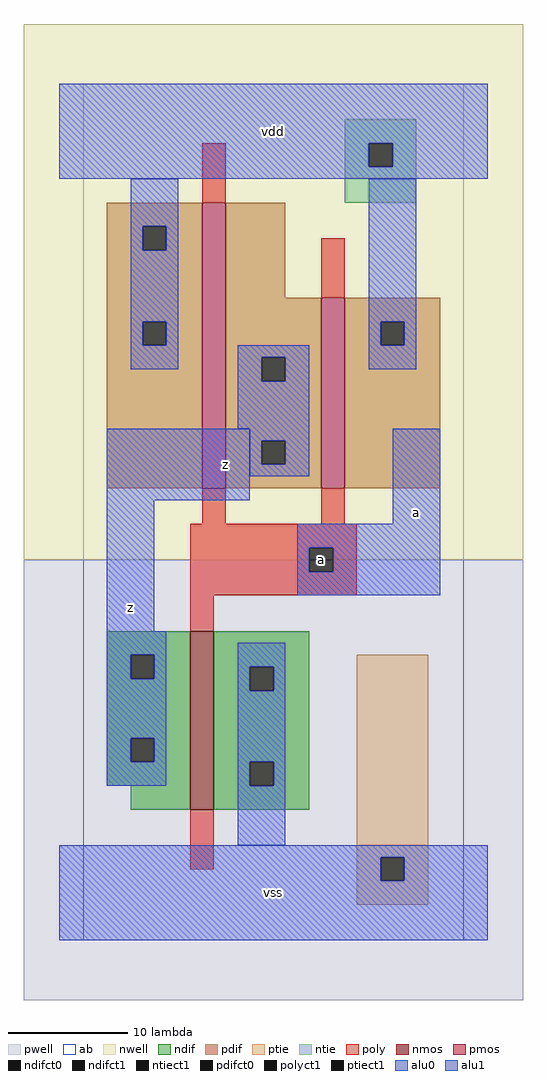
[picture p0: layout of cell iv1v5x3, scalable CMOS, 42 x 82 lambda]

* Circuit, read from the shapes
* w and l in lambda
.subckt iv1v5x3 a vdd vss z
M1 vss a z vss nfet w=15 l=2
M2 z a vdd vdd pfet w=24 l=2
M3 vdd a z vdd pfet w=16 l=2
.ends

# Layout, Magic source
magic
tech scmos
<< ab >>
rect 0 0 32 72
<< nwell >>
rect -5 32 37 77
<< pwell >>
rect -5 -5 37 32
<< poly >>
rect 10 62 12 67
rect 20 54 22 59
rect 10 35 12 38
rect 20 35 22 38
rect 9 33 23 35
rect 9 31 19 33
rect 21 31 23 33
rect 9 29 23 31
rect 9 26 11 29
rect 9 6 11 11
<< ndif >>
rect 2 24 9 26
rect 2 22 4 24
rect 6 22 9 24
rect 2 17 9 22
rect 2 15 4 17
rect 6 15 9 17
rect 2 13 9 15
rect 4 11 9 13
rect 11 23 19 26
rect 11 21 14 23
rect 16 21 19 23
rect 11 15 19 21
rect 11 13 14 15
rect 16 13 19 15
rect 11 11 19 13
<< pdif >>
rect 2 60 10 62
rect 2 58 5 60
rect 7 58 10 60
rect 2 52 10 58
rect 2 50 5 52
rect 7 50 10 52
rect 2 38 10 50
rect 12 54 17 62
rect 12 49 20 54
rect 12 47 15 49
rect 17 47 20 49
rect 12 42 20 47
rect 12 40 15 42
rect 17 40 20 42
rect 12 38 20 40
rect 22 52 30 54
rect 22 50 25 52
rect 27 50 30 52
rect 22 38 30 50
<< alu1 >>
rect -2 67 34 72
rect -2 65 24 67
rect 26 65 34 67
rect -2 64 34 65
rect 2 37 14 43
rect 2 26 6 37
rect 26 35 30 43
rect 18 33 30 35
rect 18 31 19 33
rect 21 31 30 33
rect 18 29 30 31
rect 2 24 7 26
rect 2 22 4 24
rect 6 22 7 24
rect 2 17 7 22
rect 2 15 4 17
rect 6 15 7 17
rect 2 13 7 15
rect -2 7 34 8
rect -2 5 25 7
rect 27 5 34 7
rect -2 0 34 5
<< ptie >>
rect 23 7 29 24
rect 23 5 25 7
rect 27 5 29 7
rect 23 3 29 5
<< ntie >>
rect 22 67 28 69
rect 22 65 24 67
rect 26 65 28 67
rect 22 62 28 65
<< nmos >>
rect 9 11 11 26
<< pmos >>
rect 10 38 12 62
rect 20 38 22 54
<< polyct1 >>
rect 19 31 21 33
<< ndifct0 >>
rect 14 21 16 23
rect 14 13 16 15
<< ndifct1 >>
rect 4 22 6 24
rect 4 15 6 17
<< ntiect1 >>
rect 24 65 26 67
<< ptiect1 >>
rect 25 5 27 7
<< pdifct0 >>
rect 5 58 7 60
rect 5 50 7 52
rect 15 47 17 49
rect 15 40 17 42
rect 25 50 27 52
<< alu0 >>
rect 4 60 8 64
rect 4 58 5 60
rect 7 58 8 60
rect 4 52 8 58
rect 4 50 5 52
rect 7 50 8 52
rect 24 52 28 64
rect 24 50 25 52
rect 27 50 28 52
rect 4 48 8 50
rect 13 49 19 50
rect 13 47 15 49
rect 17 47 19 49
rect 24 48 28 50
rect 13 43 19 47
rect 14 42 19 43
rect 14 40 15 42
rect 17 40 19 42
rect 14 39 19 40
rect 13 23 17 25
rect 13 21 14 23
rect 16 21 17 23
rect 13 15 17 21
rect 13 13 14 15
rect 16 13 17 15
rect 13 8 17 13
<< labels >>
rlabel alu1 4 28 4 28 6 z
rlabel alu1 16 4 16 4 6 vss
rlabel alu1 12 40 12 40 6 z
rlabel alu1 16 68 16 68 6 vdd
rlabel polyct1 20 32 20 32 6 a
rlabel alu1 28 36 28 36 6 a
<< end >>
